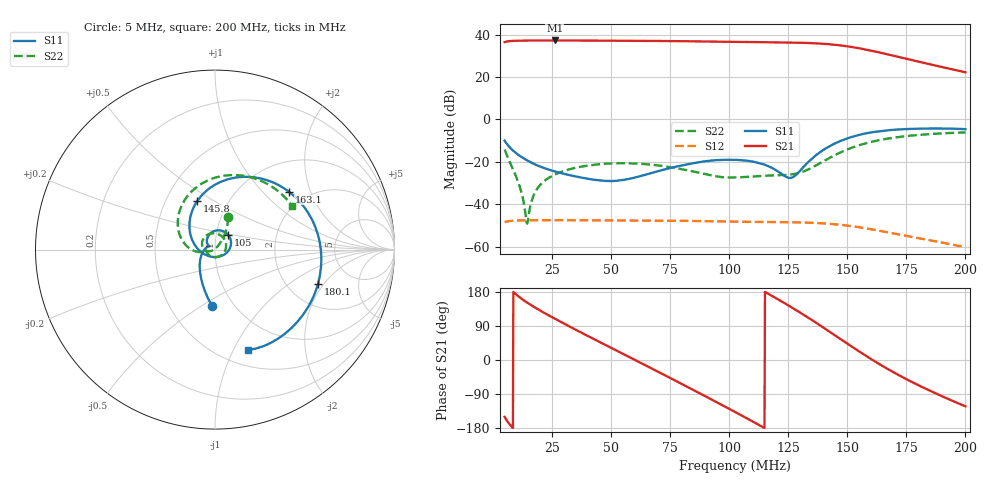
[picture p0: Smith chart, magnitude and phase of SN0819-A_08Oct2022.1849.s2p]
# Hz S DB R 50
! CMT, M5045, 22160017, 22.3.3/2
! Date: 10/8/2022 18:49:44
! Data: Format (Calibration Info)
! Freq	S11:dB/Ang(F2)	S21:dB/Ang(F2)	S12:dB/Ang(F2)	S22:dB/Ang(F2)
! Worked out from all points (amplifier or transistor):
!   1001 points, 5 MHz to 200 MHz, reference 50 ohm
!   highest |S21| = 37.2 dB at 26.25 MHz (marker M1)
!   |S21| within 3 dB of that: start of sweep to 151.4 MHz
!   unconditionally stable (mu >= 1): start of sweep to end of sweep
!   at 37.37 MHz: K = 1.79, MAG = 37.2 dB, |S12| = -47.6 dB
!   at 102.5 MHz: K = 2.02, MAG = 36.6 dB, |S12| = -48.2 dB
!   at 200 MHz: K = 17.62, MAG = 25.2 dB, |S12| = -59.1 dB
!   S11 on the Smith chart (normalised r, x): 5 MHz: 0.80, -0.56; 105 MHz: 1.14, +0.19; 145.8 MHz: 0.72, +0.42; 163.1 MHz: 1.61, +1.43; 180.1 MHz: 2.92, -1.74; 200 MHz: 0.67, -1.14
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5000000  -10.03 -92.7  36.43 -149.8  -48.48 -146.9  -14.20 67.4
8120000  -14.23 -112.0  37.01 -176.8  -47.81 -174.0  -22.47 55.0
1.2215e7  -17.79 -131.5  37.16 161.3  -47.62 164.1  -34.82 52.6
1.904e7  -21.79 -158.0  37.22 134.2  -47.56 137.0  -32.33 -161.4
2.6255e7  -24.56 -179.7  37.23 109.0  -47.55 112.6  -26.02 -173.1
3.7565e7  -27.47 156.1  37.19 71.9  -47.57 76.9  -22.27 159.6
5.453e7  -28.68 149.1  37.10 18.0  -47.63 25.2  -20.65 111.3
6.233e7  -26.78 146.8  37.04 -6.7  -47.67 1.5  -20.93 86.7
7.013e7  -24.38 137.8  36.98 -31.6  -47.72 -22.3  -21.73 60.4
8.651e7  -20.35 102.8  36.80 -84.5  -47.93 -73.1  -24.95 -6.6
9.431e7  -19.25 80.9  36.69 -110.0  -48.07 -97.5  -26.81 -48.1
1.025e8  -19.06 55.5  36.56 -137.1  -48.22 -123.6  -27.35 -95.3
1.05035e8  -19.20 47.2  36.53 -145.5  -48.25 -131.7  -27.27 -109.6
1.1264e8  -20.55 18.5  36.45 -171.4  -48.35 -156.6  -26.72 -145.3
1.19855e8  -23.95 -20.4  36.38 163.2  -48.44 178.8  -26.37 -166.7
1.35065e8  -18.48 165.4  35.99 105.4  -48.77 122.5  -22.73 -169.8
1.4579e8  -10.83 110.3  35.08 61.0  -49.54 79.0  -16.30 174.3
1.5398e8  -7.61 74.4  33.76 26.8  -50.68 45.4  -12.57 150.7
1.63145e8  -5.63 38.1  31.70 -9.2  -52.42 9.8  -9.86 122.3
1.6763e8  -5.08 22.0  30.56 -25.5  -53.38 -6.3  -8.96 109.0
1.8011e8  -4.37 -18.3  27.25 -66.6  -56.04 -46.9  -7.34 75.2
2e8  -4.60 -71.9  22.23 -122.0  -59.15 -90.5  -6.15 29.3
